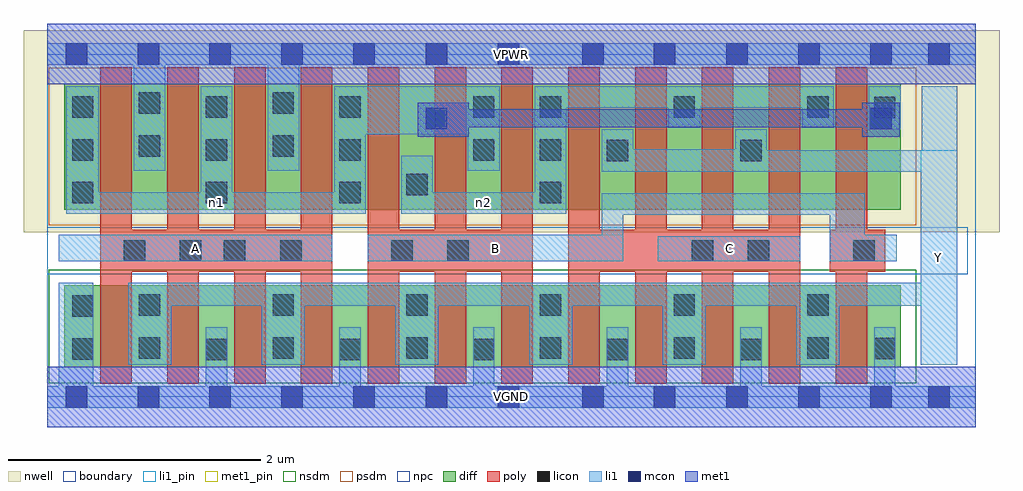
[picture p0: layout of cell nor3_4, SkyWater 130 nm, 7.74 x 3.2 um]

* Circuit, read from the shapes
.subckt nor3_4 A B C VGND VPWR Y n1 n2
XM1 Y A VGND VSUBS sky130_fd_pr__nfet_01v8 w=0.65 l=0.25 m=4
XM2 Y B VGND VSUBS sky130_fd_pr__nfet_01v8 w=0.65 l=0.25 m=4
XM3 VGND C Y VSUBS sky130_fd_pr__nfet_01v8 w=0.65 l=0.25 m=4
XM4 VPWR A n1 n3 sky130_fd_pr__pfet_01v8 w=1 l=0.25 m=4
XM5 n2 B n1 n3 sky130_fd_pr__pfet_01v8 w=1 l=0.25 m=4
XM6 Y C n2 n3 sky130_fd_pr__pfet_01v8 w=1 l=0.25 m=4
.ends

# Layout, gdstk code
import gdstk
lib = gdstk.Library(unit=1e-6, precision=1e-09)
def R(c, l, rs):  # rectangles x0, y0, x1, y1
    for r in rs: c.add(gdstk.rectangle(r[:2], r[2:], *l))
def A(c, l, x, y, w, h, nx, ny, dx, dy):  # array of equal rectangles
    R(c, l, [(x+i*dx, y+j*dy, x+i*dx+w, y+j*dy+h) for i in range(nx) for j in range(ny)])
nwell = (64, 20)
diff = (65, 20)
poly = (66, 20)
licon = (66, 44)
li1_pin = (67, 16)
li1 = (67, 20)
mcon = (67, 44)
met1_pin = (68, 16)
met1 = (68, 20)
nsdm = (93, 44)
psdm = (94, 20)
npc = (95, 20)
boundary = (235, 4)

nor3_4 = lib.new_cell('nor3_4')
R(nor3_4, nwell, [(-0.19,1.305,7.55,2.91), (0,1.305,7.36,2.91)])
R(nor3_4, diff, [(0.135,0.235,6.765,0.885), (0.135,1.485,6.765,2.485)])
A(nor3_4, poly, 0.42, 0.105, 0.25, 2.51, 12, 1, 0.53, 0)
R(nor3_4, poly, [(0.42,0.995,2.26,1.325), (2.54,0.995,3.85,1.325), (4.13,0.995,5.97,1.325), (6.205,0.995,6.645,1.325)])
A(nor3_4, licon, 1.255, 0.29, 0.17, 0.17, 5, 1, 1.06, 0)
A(nor3_4, licon, 0.725, 0.305, 0.17, 0.17, 6, 2, 1.06, 0.34)
A(nor3_4, licon, 0.195, 1.535, 0.17, 0.17, 3, 1, 1.06, 0)
A(nor3_4, licon, 0.195, 1.875, 0.17, 0.17, 4, 2, 1.06, 0.34)
A(nor3_4, licon, 3.905, 2.215, 0.17, 0.17, 3, 1, 1.06, 0)
R(nor3_4, licon, [(0.195,0.295,0.365,0.465), (6.555,0.3,6.725,0.47), (0.195,0.635,0.365,0.805), (0.605,1.075,0.775,1.245), (1.05,1.075,1.22,1.245), (1.4,1.075,1.57,1.245), (1.845,1.075,2.015,1.245), (2.725,1.075,2.895,1.245), (3.17,1.075,3.34,1.245), (5.11,1.075,5.28,1.245), (5.555,1.075,5.725,1.245), (6.39,1.075,6.56,1.245), (3.905,1.535,4.075,1.705), (2.845,1.6,3.015,1.77), (4.435,1.87,4.605,2.04), (5.495,1.87,5.665,2.04), (3.905,1.875,4.075,2.045), (0.725,1.905,0.895,2.075), (1.785,1.905,1.955,2.075), (6.555,2.21,6.725,2.38), (0.725,2.245,0.895,2.415), (1.785,2.245,1.955,2.415)])
R(nor3_4, li1_pin, [(6.925,0.255,7.215,1.955), (0.09,1.075,2.26,1.285), (2.54,1.075,4.565,1.285), (4.84,1.075,5.97,1.275)])
A(nor3_4, li1, 1.255, -0.085, 0.17, 0.64, 6, 1, 1.06, 0)
A(nor3_4, li1, 0.64, 0.255, 0.34, 0.65, 6, 1, 1.06, 0)
R(nor3_4, li1, [(0,-0.085,7.36,0.085), (0.09,-0.085,0.365,0.905), (6.925,0.255,7.215,1.955), (6.935,0.255,7.215,2.465), (0.64,0.725,7.215,0.905), (0.09,1.075,2.26,1.285), (2.54,1.075,4.565,1.285), (4.395,1.075,4.565,1.615), (4.84,1.075,5.97,1.275), (6.205,1.075,6.735,1.285), (6.205,1.075,6.48,1.615), (4.395,1.445,6.48,1.615), (0.15,1.455,2.525,1.625), (0.15,1.455,0.405,2.465), (1.215,1.455,1.465,2.465), (2.275,1.455,2.525,2.465), (2.805,1.455,4.115,1.625), (2.805,1.455,3.055,1.915), (3.865,1.455,4.115,2.465), (4.395,1.785,4.645,2.125), (4.395,1.785,7.215,1.955), (4.395,1.785,5.705,1.965), (5.455,1.785,5.705,2.125), (0.685,1.795,0.935,2.805), (1.745,1.795,1.995,2.805), (3.335,1.795,3.585,2.465), (2.275,2.085,3.585,2.465), (6.515,2.125,6.765,2.465), (4.925,2.135,5.175,2.465), (5.985,2.135,6.235,2.465), (3.865,2.295,6.235,2.465), (0,2.635,7.36,2.805)])
A(nor3_4, mcon, 0.145, -0.085, 0.17, 0.17, 5, 2, 0.57, 2.72)
A(nor3_4, mcon, 5.385, -0.085, 0.17, 0.17, 3, 2, 0.57, 2.72)
R(nor3_4, mcon, [(3,-0.085,3.17,0.085), (3.57,-0.085,3.74,0.085), (4.24,-0.085,4.41,0.085), (4.81,-0.085,4.98,0.085), (6.985,-0.085,7.155,0.085), (3,2.125,3.17,2.295), (6.525,2.125,6.695,2.295), (3,2.635,3.17,2.805), (3.57,2.635,3.74,2.805), (4.24,2.635,4.41,2.805), (4.81,2.635,4.98,2.805), (6.985,2.635,7.155,2.805)])
R(nor3_4, met1_pin, [(0,-0.24,7.36,0.24), (0,2.48,7.36,2.96)])
R(nor3_4, met1, [(0,-0.24,7.36,0.24), (2.935,2.065,3.34,2.335), (6.46,2.065,6.76,2.335), (2.935,2.14,6.76,2.28), (0,2.48,7.36,2.96)])
R(nor3_4, nsdm, [(0.01,0.11,6.89,1.01)])
R(nor3_4, psdm, [(0.01,1.36,6.89,2.61)])
R(nor3_4, npc, [(0,0.975,7.3,1.345)])
R(nor3_4, boundary, [(0,0,7.36,2.72)])
nor3_4.add(gdstk.Label('A', (1.175,1.18), layer=67, texttype=5))
nor3_4.add(gdstk.Label('B', (3.552,1.18), layer=67, texttype=5))
nor3_4.add(gdstk.Label('C', (5.405,1.175), layer=67, texttype=5))
nor3_4.add(gdstk.Label('Y', (7.07,1.105), layer=67, texttype=5))
nor3_4.add(gdstk.Label('n1', (1.337,1.54), layer=67, texttype=5))
nor3_4.add(gdstk.Label('n2', (3.46,1.54), layer=67, texttype=5))
nor3_4.add(gdstk.Label('VPWR', (3.68,2.72), layer=68, texttype=5))
nor3_4.add(gdstk.Label('VGND', (3.68,0), layer=68, texttype=5))
nor3_4.add(gdstk.Label('A', (1.175,1.18), layer=67, texttype=16))
nor3_4.add(gdstk.Label('B', (3.552,1.18), layer=67, texttype=16))
nor3_4.add(gdstk.Label('C', (5.405,1.175), layer=67, texttype=16))
nor3_4.add(gdstk.Label('Y', (7.07,1.105), layer=67, texttype=16))
nor3_4.add(gdstk.Label('VPWR', (3.68,2.72), layer=68, texttype=16))
nor3_4.add(gdstk.Label('VGND', (3.68,0), layer=68, texttype=16))

lib.write_gds('nor3_4.gds')
